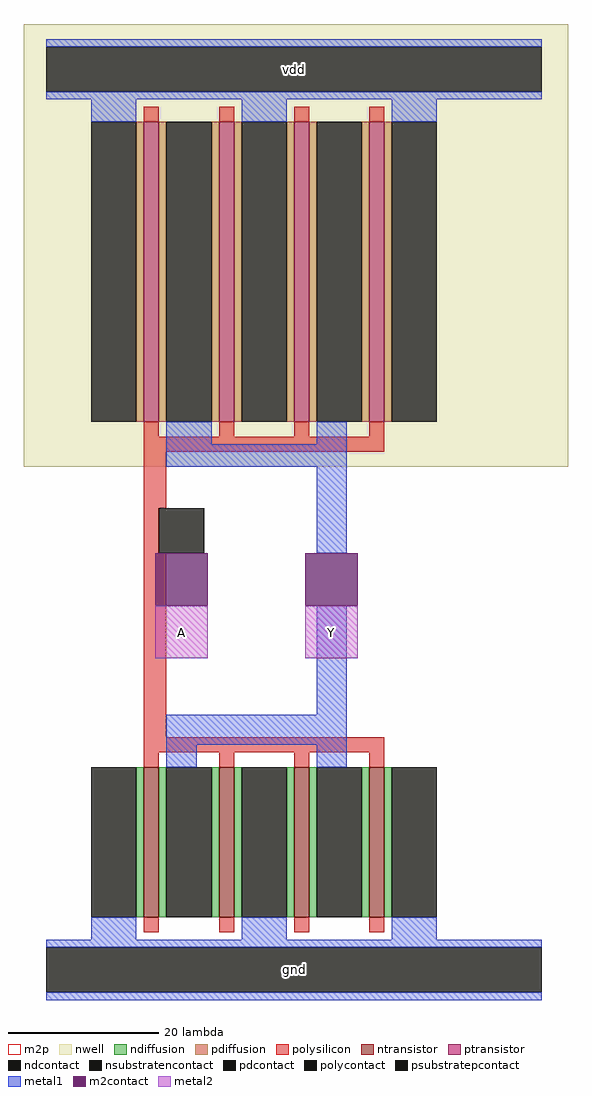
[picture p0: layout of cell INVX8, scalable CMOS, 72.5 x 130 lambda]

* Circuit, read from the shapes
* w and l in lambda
.subckt INVX8 A Y vdd gnd
M1 Y A gnd gnd nfet w=20 l=2 m=4
M2 Y A vdd vdd pfet w=40 l=2 m=4
.ends

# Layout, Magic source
magic
tech scmos
magscale 1 2
<< nwell >>
rect -12 134 133 252
<< ntransistor >>
rect 20 14 24 54
rect 40 14 44 54
rect 60 14 64 54
rect 80 14 84 54
<< ptransistor >>
rect 20 146 24 226
rect 40 146 44 226
rect 60 146 64 226
rect 80 146 84 226
<< ndiffusion >>
rect 18 14 20 54
rect 24 14 26 54
rect 38 14 40 54
rect 44 14 46 54
rect 58 14 60 54
rect 64 14 66 54
rect 78 14 80 54
rect 84 14 86 54
<< pdiffusion >>
rect 18 146 20 226
rect 24 146 26 226
rect 38 146 40 226
rect 44 146 46 226
rect 58 146 60 226
rect 64 146 66 226
rect 78 146 80 226
rect 84 146 86 226
<< ndcontact >>
rect 6 14 18 54
rect 26 14 38 54
rect 46 14 58 54
rect 66 14 78 54
rect 86 14 98 54
<< pdcontact >>
rect 6 146 18 226
rect 26 146 38 226
rect 46 146 58 226
rect 66 146 78 226
rect 86 146 98 226
<< psubstratepcontact >>
rect -6 -6 126 6
<< nsubstratencontact >>
rect -6 234 126 246
<< polysilicon >>
rect 20 226 24 230
rect 40 226 44 230
rect 60 226 64 230
rect 80 226 84 230
rect 20 142 24 146
rect 40 142 44 146
rect 60 142 64 146
rect 80 142 84 146
rect 20 138 84 142
rect 20 123 26 138
rect 20 111 24 123
rect 20 62 26 111
rect 20 58 84 62
rect 20 54 24 58
rect 40 54 44 58
rect 60 54 64 58
rect 80 54 84 58
rect 20 10 24 14
rect 40 10 44 14
rect 60 10 64 14
rect 80 10 84 14
<< polycontact >>
rect 24 111 36 123
<< metal1 >>
rect -6 246 126 248
rect -6 232 126 234
rect 6 226 18 232
rect 46 226 58 232
rect 86 226 98 232
rect 26 140 38 146
rect 66 140 74 146
rect 26 134 74 140
rect 66 111 74 134
rect 66 68 74 97
rect 26 60 74 68
rect 26 54 34 60
rect 66 54 74 60
rect 6 8 18 14
rect 46 8 58 14
rect 86 8 98 14
rect -6 6 126 8
rect -6 -8 126 -6
<< m2contact >>
rect 23 97 37 111
rect 63 97 77 111
<< metal2 >>
rect 23 83 37 97
rect 63 83 77 97
<< m2p >>
rect 23 83 37 97
rect 63 83 77 97
<< labels >>
rlabel metal1 -6 -8 126 8 0 gnd
port 3 nsew ground bidirectional abutment
rlabel metal1 -6 232 126 248 0 vdd
port 2 nsew power bidirectional abutment
rlabel metal2 23 83 37 97 0 A
port 0 nsew signal input
rlabel metal2 63 83 77 97 0 Y
port 1 nsew signal output
<< properties >>
string FIXED_BBOX 0 0 120 240
string LEFclass CORE
string LEFsite core
string LEFsymmetry X Y
<< end >>
